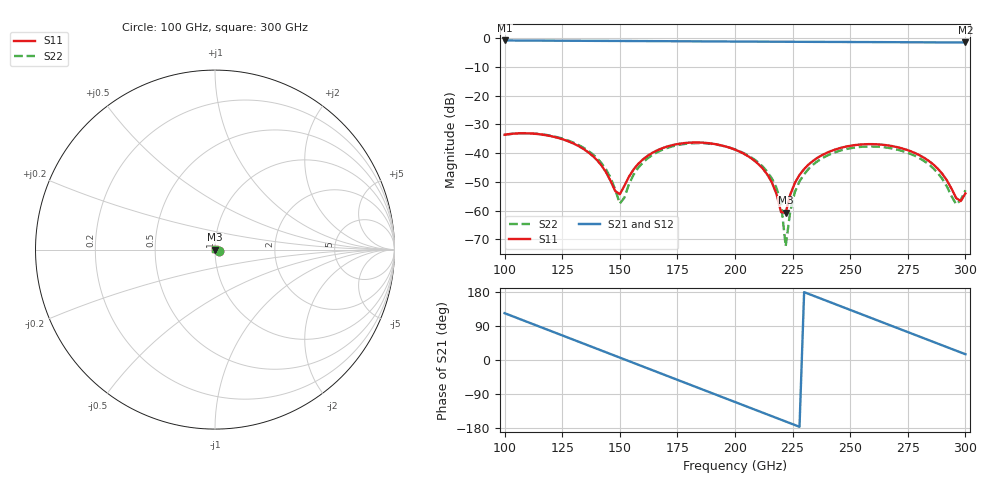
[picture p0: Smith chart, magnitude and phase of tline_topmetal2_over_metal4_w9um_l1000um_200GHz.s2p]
#  GHZ S DB R 50
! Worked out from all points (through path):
!   101 points, 100 GHz to 300 GHz, reference 50 ohm
!   highest |S21| = -0.79 dB at 100 GHz (marker M1); lowest = -1.5 dB at 300 GHz (marker M2)
!   group delay of S21, straight-line fit = 6.5 ps
!   lowest |S11| = -60.8 dB at 222 GHz (marker M3), VSWR 1.00, Z = 50.1 + j0.00895 ohm
!   |S11| at or under -10 dB: start of sweep to end of sweep
!   |S22| runs from -72.4 to -33.1 dB; largest |S21 - S12| = 1e-13
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100  -33.61 -18.3  -0.79 123.6  -0.79 123.6  -33.65 -18.5
116  -33.52 -52.1  -0.85 86.0  -0.85 86.0  -33.42 -53.0
134  -38.44 -87.4  -0.92 43.9  -0.92 43.9  -38.02 -90.4
144  -46.63 -95.2  -0.95 20.4  -0.95 20.4  -45.65 -105.0
150  -54.32 -30.0  -0.97 6.3  -0.97 6.3  -57.55 -60.5
158  -43.74 12.1  -1.00 -12.4  -1.00 -12.4  -45.09 15.3
168  -38.42 -3.0  -1.04 -35.9  -1.04 -35.9  -39.00 -1.4
184  -36.30 -36.9  -1.10 -73.4  -1.10 -73.4  -36.52 -36.7
200  -38.79 -71.5  -1.17 -110.8  -1.17 -110.8  -38.71 -73.3
210  -43.70 -91.0  -1.21 -134.2  -1.21 -134.2  -43.19 -96.3
216  -50.18 -97.4  -1.23 -148.3  -1.23 -148.3  -48.82 -111.1
220  -60.55 -70.7  -1.24 -157.6  -1.24 -157.6  -57.47 -124.4
222  -60.77 5.6  -1.25 -162.3  -1.25 -162.3  -72.39 -164.2
224  -54.38 29.9  -1.25 -167.0  -1.25 -167.0  -60.18 62.9
226  -50.35 33.7  -1.26 -171.6  -1.26 -171.6  -53.54 53.3
234  -42.61 23.4  -1.28 169.7  -1.28 169.7  -43.95 31.9
252  -37.21 -16.4  -1.34 127.5  -1.34 127.5  -38.05 -11.8
268  -37.52 -55.8  -1.39 90.1  -1.39 90.1  -38.37 -52.1
286  -43.89 -107.0  -1.45 48.0  -1.45 48.0  -45.24 -104.1
296  -55.66 -179.4  -1.49 24.6  -1.49 24.6  -57.80 163.0
298  -56.70 134.7  -1.49 19.9  -1.49 19.9  -56.32 115.9
300  -54.04 97.2  -1.50 15.2  -1.50 15.2  -52.93 88.8
